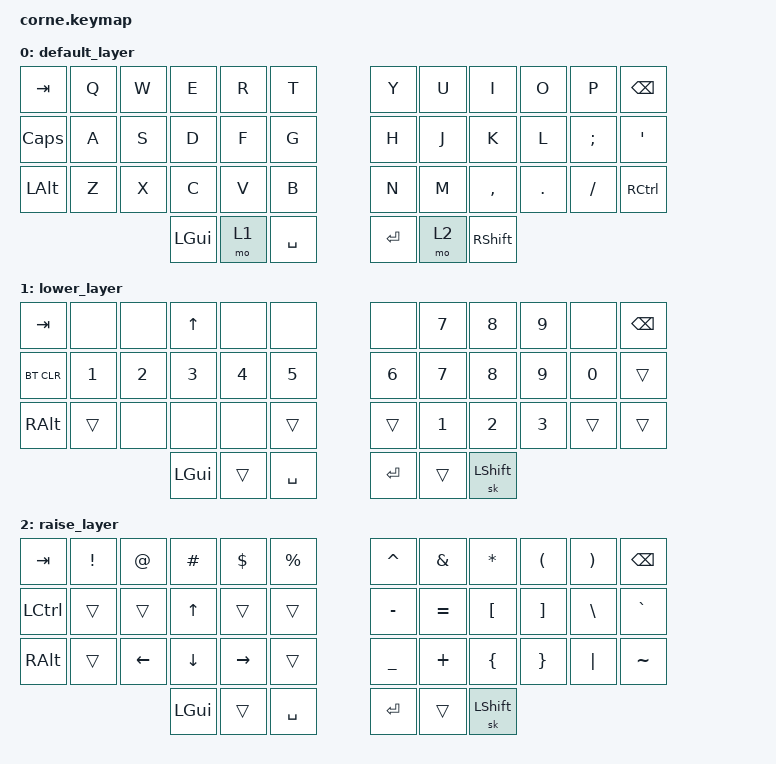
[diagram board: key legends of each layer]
#include <behaviors.dtsi>
#include <dt-bindings/zmk/bt.h>
#include <dt-bindings/zmk/keys.h>

/ {
    combos {
        compatible = "zmk,combos";

        jkesc {
            bindings = <&kp ESCAPE>;
            key-positions = <19 20>;
        };

        fdtab {
            bindings = <&kp ESCAPE>;
            key-positions = <15 16>;
        };
    };

    keymap {
        compatible = "zmk,keymap";

        default_layer {
            // -----------------------------------------------------------------------------------------
            // |  TAB |  Q  |  W  |  E  |  R  |  T  |   |  Y  |  U   |  I  |  O  |  P  | BSPC |
            // | CTRL |  A  |  S  |  D  |  F  |  G  |   |  H  |  J   |  K  |  L  |  ;  |  '   |
            // | ALT |  Z  |  X  |  C  |  V  |  B  |   |  N  |  M   |  ,  |  .  |  /  | ESC  |
            //                    | GUI | LWR | SPC |   | ENT | RSE  | SHFT |

            bindings = <
&kp TAB   &kp Q  &kp W  &kp E     &kp R  &kp T        &kp Y    &kp U  &kp I      &kp O    &kp P     &kp BSPC
&kp CAPS  &kp A  &kp S  &kp D     &kp F  &kp G        &kp H    &kp J  &kp K      &kp L    &kp SEMI  &kp SQT
&kp LALT  &kp Z  &kp X  &kp C     &kp V  &kp B        &kp N    &kp M  &kp COMMA  &kp DOT  &kp FSLH  &kp RCTRL
                        &kp LGUI  &mo 1  &kp SPACE    &kp RET  &mo 2  &kp RSHFT
            >;
        };

        lower_layer {
            // -----------------------------------------------------------------------------------------
            // |  TAB |  1  |  2  |  3  |  4  |  5  |   |  6  |  7  |  8  |  9  |  0  | BSPC |
            // | BTCLR| BT1 | BT2 | BT3 | BT4 | BT5 |   | LFT | DWN |  UP | RGT |     |      |
            // | ALT |     |     |     |     |     |   |     |     |     |     |     |      |
            //                    | GUI |     | SPC |   | ENT |     | SHFT |

            bindings = <
&kp TAB     &none   &none   &kp UP    &none   &none        &none    &kp N7  &kp N8     &kp N9  &none   &kp BSPC
&bt BT_CLR  &kp N1  &kp N2  &kp N3    &kp N4  &kp N5       &kp N6   &kp N7  &kp N8     &kp N9  &kp N0  &trans
&kp RALT    &trans  &none   &none     &none   &trans       &trans   &kp N1  &kp N2     &kp N3  &trans  &trans
                            &kp LGUI  &trans  &kp SPACE    &kp RET  &trans  &sk LSHFT
            >;
        };

        raise_layer {
            // -----------------------------------------------------------------------------------------
            // |  TAB |  !  |  @  |  #  |  $  |  %  |   |  ^  |  &  |  *  |  (  |  )  | BSPC |
            // | CTRL |     |     |     |     |     |   |  -  |  =  |  [  |  ]  |  \  |  `   |
            // | ALT |     |     |     |     |     |   |  _  |  +  |  {  |  }  | "|" |  ~   |
            //                    | GUI |     | SPC |   | ENT |     | SHFT |

            bindings = <
&kp TAB    &kp EXCL  &kp AT    &kp HASH  &kp DLLR   &kp PRCNT    &kp CARET  &kp AMPS   &kp ASTRK  &kp LPAR  &kp RPAR  &kp BSPC
&kp LCTRL  &trans    &trans    &kp UP    &trans     &trans       &kp MINUS  &kp EQUAL  &kp LBKT   &kp RBKT  &kp BSLH  &kp GRAVE
&kp RALT   &trans    &kp LEFT  &kp DOWN  &kp RIGHT  &trans       &kp UNDER  &kp PLUS   &kp LBRC   &kp RBRC  &kp PIPE  &kp TILDE
                               &kp LGUI  &trans     &kp SPACE    &kp RET    &trans     &sk LSHFT
            >;
        };
    };
};
